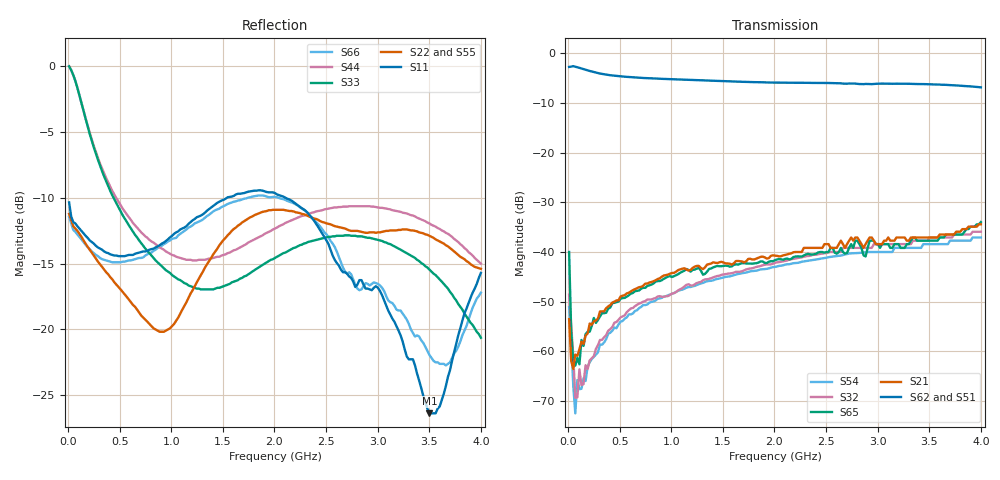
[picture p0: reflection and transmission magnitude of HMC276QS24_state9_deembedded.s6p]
! Hittite Microwave Corporation
! 20 Alpha Road
! Chelmsford, MA 01824
! Tel: 978-250-3343
! Fax: 978-250-3373
! Device: HMC276QS24, 0.7-3.0 GHz, GaAS MMIC 4x2 Switch Matrix in 24-lead QSOP package
! Misc: Data was de-embedded to package pins.
!  Port 1 = OP1
!  Port 2 = VL
!  Port 3 = VH
!  Port 4 = HH
!  Port 5 = HL
!  Port 6 = OP2
!  Vdd = +5 V
!  Vctl = 0 V[Logic 0] / +5 V[Logic 1]
!  State 09,  HL to OP1,  VL to OP2
!  Control Lines (Logic)
!  HV 1 = 1, Tone 1 = 0
!  HV 2 = 0, Tone 2 = 0
!  Data reformated to new Touchstone file format - Wed Jan 10 15:20:20 2007
# MHz S DB R 50
! 6 Port Network Data
! freq  dbS11  angS11  dbS12  angS12  dbS13  angS13  dbS14  angS14
!  dbS15  angS15  dbS16  angS16
!  dbS21  angS21  dbS22  angS22
!  dbS23  angS23  dbS24  angS24  dbS25  angS25  dbS26  angS26
!  dbS31  angS31  dbS32  angS32  dbS33  angS33  dbS34  angS34
!  dbS35  angS35  dbS36  angS36
!  dbS41  angS41  dbS42  angS42
!  dbS43  angS43  dbS44  angS44  dbS45  angS45  dbS46  angS46
!  dbS51  angS51  dbS52  angS52  dbS53  angS53  dbS54  angS54
!  dbS55  angS55  dbS56  angS56
!  dbS61  angS61  dbS62  angS62
!  dbS63  angS63  dbS64  angS64  dbS65  angS65  dbS66  angS66
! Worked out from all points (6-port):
!   201 points, 10 MHz to 4 GHz, reference 50 ohm
!   strongest paths, dB at 10 MHz, 1.008 GHz, 2.005 GHz, 3.002 GHz, 4 GHz:
!     S62: -2.7, -5.2, -5.9, -6.1, -6.8
!     S51: -2.8, -5.3, -6.0, -6.2, -6.9
!     S21: -53.5, -44.2, -40.7, -38.4, -34.4
!     S65: -40.0, -45.0, -41.6, -38.4, -34.0
!     S32: -48.6, -48.4, -42.2, -38.4, -35.9
!     S54: -51.1, -48.4, -43.0, -40.0, -37.1
!   lowest |S11| = -26.4 dB at 3.501 GHz (marker M1), VSWR 1.10, Z = 50.3 + j4.81 ohm
!   |S11| at or under -10 dB: start of sweep to 1.537 GHz; 2.11 GHz to end of sweep
